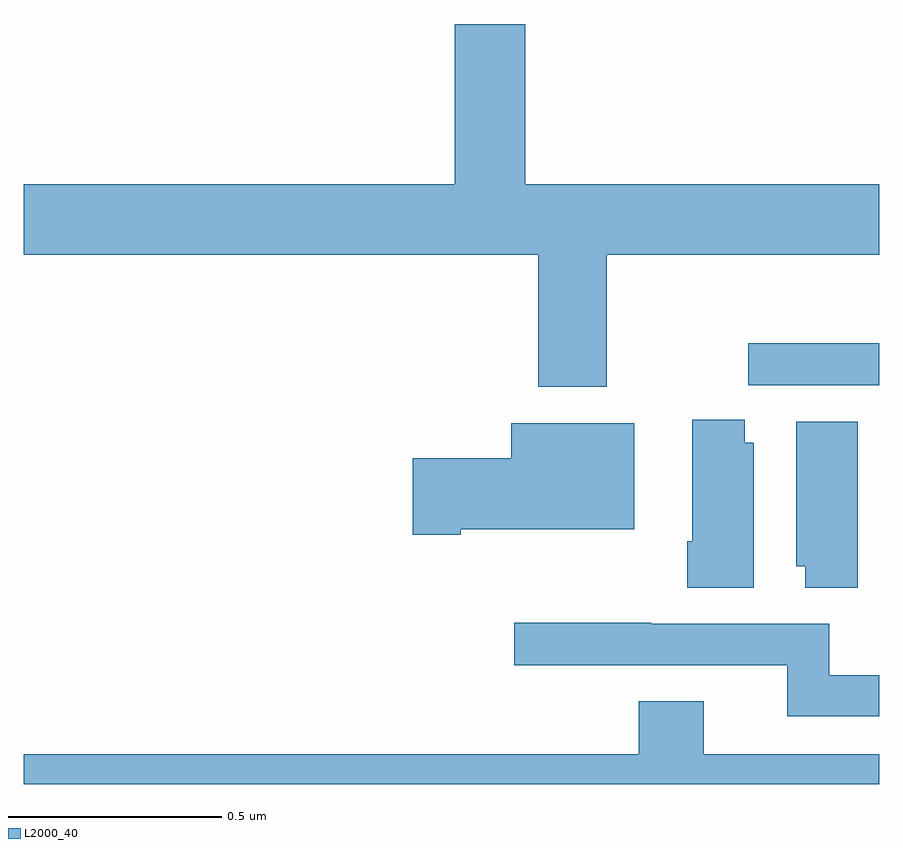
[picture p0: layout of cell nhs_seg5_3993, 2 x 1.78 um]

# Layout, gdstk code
import gdstk
lib = gdstk.Library(unit=1e-6, precision=1e-09)
def R(c, l, rs):  # rectangles x0, y0, x1, y1
    for r in rs: c.add(gdstk.rectangle(r[:2], r[2:], *l))
def P(c, l, *ps):  # polygons
    for p in ps: c.add(gdstk.Polygon(p, *l))
L2000_40 = (2000, 40)

nhs_seg5_3993 = lib.new_cell('nhs_seg5_3993')
R(nhs_seg5_3993, L2000_40, [(165.693,913.731,166,913.829)])
P(nhs_seg5_3993, L2000_40, [(165.363,914.036),(166,914.036),(166,914.2),(165.172,914.2),(165.172,914.575),(165.008,914.575),(165.008,914.2),(164,914.2),(164,914.036),(165.203,914.036),(165.203,913.727),(165.363,913.727)],
  [(165.706,913.596),(165.685,913.596),(165.685,913.65),(165.563,913.65),(165.563,913.366),(165.551,913.366),(165.551,913.258),(165.706,913.258)],
  [(165.949,913.646),(165.806,913.646),(165.806,913.308),(165.827,913.308),(165.827,913.258),(165.949,913.258)],
  [(165.022,913.394),(165.427,913.394),(165.427,913.642),(165.14,913.642),(165.14,913.56),(164.91,913.56),(164.91,913.382),(165.022,913.382)],
  [(166,913.053),(165.883,913.053),(165.883,913.173),(165.467,913.173),(165.467,913.176),(165.147,913.176),(165.147,913.077),(165.785,913.077),(165.785,912.957),(166,912.957)],
  [(166,912.868),(165.589,912.868),(165.589,912.992),(165.437,912.992),(165.437,912.868),(164,912.868),(164,912.799),(166,912.799)])

lib.write_gds('nhs_seg5_3993.gds')
